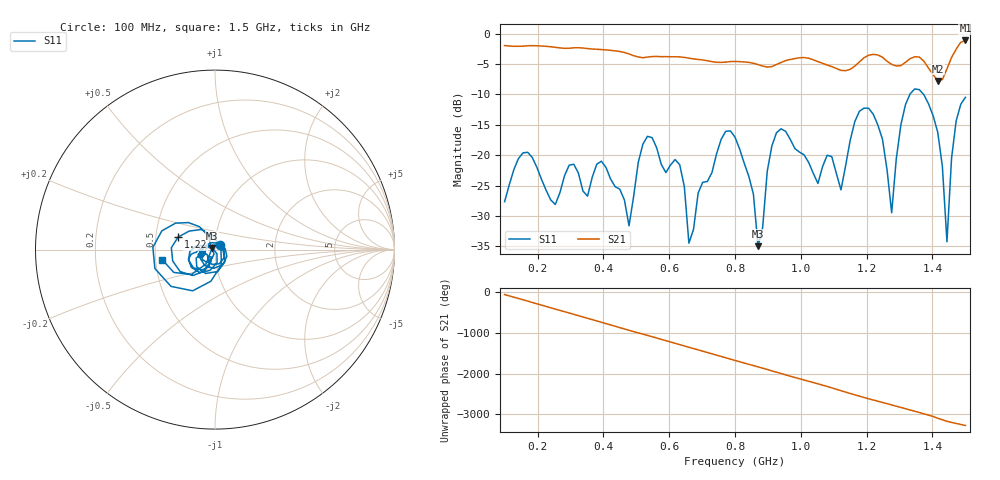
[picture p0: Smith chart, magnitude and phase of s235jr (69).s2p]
! NanoVNA-App
! Date: 2025-09-26 09:45:19
! Start: 100MHz Stop: 1,5GHz Points: 101
! S-Parameter data: F S11 S21 S12 S22
# Hz S RI R 50
!  Frequency  S11_Real  S11_Imag  S21_Real  S21_Imag  S12_Real  S12_Imag  S22_Real  S22_Imag
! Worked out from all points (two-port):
!   101 points, 100 MHz to 1.5 GHz, reference 50 ohm
!   highest |S21| = -1.11 dB at 1.5 GHz (marker M1); lowest = -7.8 dB at 1.416 GHz (marker M2)
!   |S21| within 3 dB of the highest: start of sweep to 669.6 MHz; 1.189 GHz to 1.253 GHz (64.13 MHz wide, 5.25 % of centre) (the widest 2 of 5)
!   lowest |S11| = -35.0 dB at 870 MHz (marker M3), VSWR 1.04, Z = 48.5 + j0.926 ohm
!   |S11| at or under -10 dB: start of sweep to 1.331 GHz; 1.373 GHz to end of sweep
!   S12 and S22 are empty: the file has one direction only
!   S11 on the Smith chart (normalised r, x): 100 MHz: 1.06, +0.06; 1.22 GHz: 0.65, +0.10; 1.5 GHz: 0.54, -0.07
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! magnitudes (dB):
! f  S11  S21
! 100 MHz  -27.6  -2.0
! 156 MHz  -19.6  -2.0
! 338 MHz  -25.9  -2.4
! 394 MHz  -21.0  -2.6
! 478 MHz  -31.6  -3.3
! 520 MHz  -18.2  -4.0
! 576 MHz  -21.5  -3.8
! 632 MHz  -21.6  -3.8
! 660 MHz  -34.5  -4.0
! 800 MHz  -17.0  -4.6
! 870 MHz  -35.0  -5.1
! 926 MHz  -16.3  -5.1
! 1.038 GHz  -23.0  -4.3
! 1.122 GHz  -25.7  -6.0
! 1.164 GHz  -14.5  -5.3
! 1.22 GHz  -13.3  -3.4
! 1.276 GHz  -29.5  -5.0
! 1.332 GHz  -9.9  -4.1
! 1.416 GHz  -16.2  -7.8
! 1.444 GHz  -34.3  -5.8
! 1.472 GHz  -14.3  -2.6
! 1.5 GHz  -10.5  -1.1
